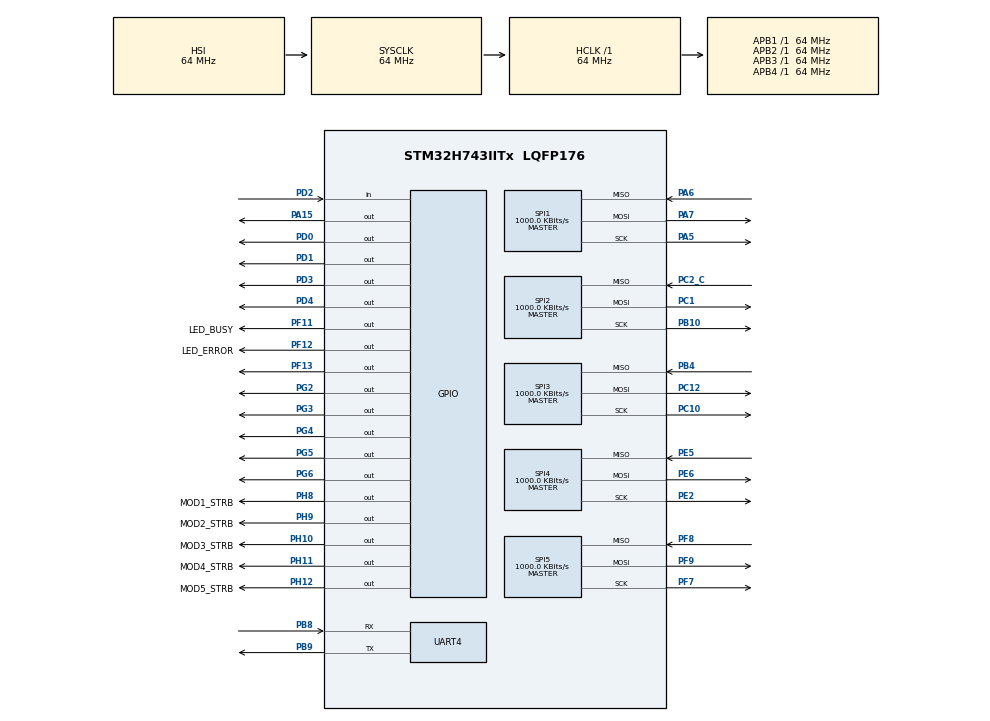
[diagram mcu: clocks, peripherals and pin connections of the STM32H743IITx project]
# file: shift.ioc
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Mcu.Family=STM32H7
Mcu.Name=STM32H743IITx
Mcu.Package=LQFP176
NVIC.PriorityGroup=NVIC_PRIORITYGROUP_4
NVIC.UART4_IRQn=true\:0\:0\:false\:false\:true\:true\:true
PA13\ (JTMS/SWDIO).Mode=Trace_Asynchronous_SW
PA13\ (JTMS/SWDIO).Signal=DEBUG_JTMS-SWDIO
PA14\ (JTCK/SWCLK).Mode=Trace_Asynchronous_SW
PA14\ (JTCK/SWCLK).Signal=DEBUG_JTCK-SWCLK
PA15\ (JTDI).Signal=GPIO_Output
PA5.Mode=Full_Duplex_Master
PA5.Signal=SPI1_SCK
PA6.Mode=Full_Duplex_Master
PA6.Signal=SPI1_MISO
PA7.Mode=Full_Duplex_Master
PA7.Signal=SPI1_MOSI
PB10.Mode=Full_Duplex_Master
PB10.Signal=SPI2_SCK
PB3\ (JTDO/TRACESWO).Mode=Trace_Asynchronous_SW
PB3\ (JTDO/TRACESWO).Signal=DEBUG_JTDO-SWO
PB4\ (NJTRST).GPIO_PuPd=GPIO_PULLDOWN
PB4\ (NJTRST).Mode=Full_Duplex_Master
PB4\ (NJTRST).Signal=SPI3_MISO
PB8.Mode=Asynchronous
PB8.Signal=UART4_RX
PB9.Mode=Asynchronous
PB9.Signal=UART4_TX
PC1.Mode=Full_Duplex_Master
PC1.Signal=SPI2_MOSI
PC10.GPIO_PuPd=GPIO_PULLDOWN
PC10.GPIO_Speed=GPIO_SPEED_FREQ_HIGH
PC10.Mode=Full_Duplex_Master
PC10.Signal=SPI3_SCK
PC12.Mode=Full_Duplex_Master
PC12.Signal=SPI3_MOSI
PC2_C.Mode=Full_Duplex_Master
PC2_C.Signal=SPI2_MISO
PD0.Signal=GPIO_Output
PD1.Signal=GPIO_Output
PD2.Signal=GPIO_Input
PD3.Signal=GPIO_Output
PD4.Signal=GPIO_Output
PE2.GPIO_PuPd=GPIO_PULLDOWN
PE2.GPIO_Speed=GPIO_SPEED_FREQ_HIGH
PE2.Mode=Full_Duplex_Master
PE2.Signal=SPI4_SCK
PE5.GPIO_PuPd=GPIO_PULLDOWN
PE5.Mode=Full_Duplex_Master
PE5.Signal=SPI4_MISO
PE6.Mode=Full_Duplex_Master
PE6.Signal=SPI4_MOSI
PF11.GPIO_Label=LED_BUSY
PF11.Signal=GPIO_Output
PF12.GPIO_Label=LED_ERROR
PF12.Signal=GPIO_Output
PF13.Signal=GPIO_Output
PF7.GPIO_PuPd=GPIO_NOPULL
PF7.GPIO_Speed=GPIO_SPEED_FREQ_HIGH
PF7.Mode=Full_Duplex_Master
PF7.Signal=SPI5_SCK
PF8.GPIO_PuPd=GPIO_NOPULL
PF8.Mode=Full_Duplex_Master
PF8.Signal=SPI5_MISO
PF9.Mode=Full_Duplex_Master
PF9.Signal=SPI5_MOSI
PG2.Signal=GPIO_Output
PG3.Signal=GPIO_Output
PG4.Signal=GPIO_Output
PG5.Signal=GPIO_Output
PG6.Signal=GPIO_Output
PH0-OSC_IN\ (PH0).Mode=HSE-External-Clock-Source
PH0-OSC_IN\ (PH0).Signal=RCC_OSC_IN
PH10.GPIO_Label=MOD3_STRB
PH10.Signal=GPIO_Output
PH11.GPIO_Label=MOD4_STRB
PH11.Signal=GPIO_Output
PH12.GPIO_Label=MOD5_STRB
PH12.Signal=GPIO_Output
PH8.GPIO_Label=MOD1_STRB
PH8.Signal=GPIO_Output
PH9.GPIO_Label=MOD2_STRB
PH9.Signal=GPIO_Output
ProjectManager.HeapSize=0x200
ProjectManager.StackSize=0x400
ProjectManager.TargetToolchain=MDK-ARM V5.27
RCC.ADCFreq_Value=128000000
RCC.APB1Freq_Value=64000000
RCC.APB2Freq_Value=64000000
RCC.APB3Freq_Value=64000000
RCC.APB4Freq_Value=64000000
RCC.CortexFreq_Value=64000000
RCC.DIVM1=4
RCC.DIVN1=9
RCC.DIVN2=128
RCC.DIVP1=4
RCC.DIVQ1=15
RCC.DIVQ2=8
RCC.HCLKFreq_Value=64000000
RCC.HSE_VALUE=8000000
RCC.PLL2FRACN=0
RCC.PLL3FRACN=0
RCC.PLLFRACN=3072
RCC.PWR_Regulator_Voltage_Scale=PWR_REGULATOR_VOLTAGE_SCALE3
RCC.SPI123CLockSelection=RCC_SPI123CLKSOURCE_CLKP
RCC.SYSCLKFreq_VALUE=64000000
RCC.Spi45ClockSelection=RCC_SPI45CLKSOURCE_PLL2
RCC.USART234578CLockSelection=RCC_USART234578CLKSOURCE_PLL2
RCC.USBFreq_Value=10000000
SPI1.BaudRatePrescaler=SPI_BAUDRATEPRESCALER_64
SPI1.CalculateBaudRate=1000.0 KBits/s
SPI1.DataSize=SPI_DATASIZE_8BIT
SPI1.Direction=SPI_DIRECTION_2LINES
SPI1.Mode=SPI_MODE_MASTER
SPI1.VirtualType=VM_MASTER
SPI2.BaudRatePrescaler=SPI_BAUDRATEPRESCALER_64
SPI2.CalculateBaudRate=1000.0 KBits/s
SPI2.DataSize=SPI_DATASIZE_8BIT
SPI2.Direction=SPI_DIRECTION_2LINES
SPI2.Mode=SPI_MODE_MASTER
SPI2.VirtualType=VM_MASTER
SPI3.BaudRatePrescaler=SPI_BAUDRATEPRESCALER_64
SPI3.CLKPhase=SPI_PHASE_1EDGE
SPI3.CLKPolarity=SPI_POLARITY_LOW
SPI3.CalculateBaudRate=1000.0 KBits/s
SPI3.DataSize=SPI_DATASIZE_8BIT
SPI3.Direction=SPI_DIRECTION_2LINES
SPI3.FirstBit=SPI_FIRSTBIT_MSB
SPI3.Mode=SPI_MODE_MASTER
SPI3.VirtualType=VM_MASTER
SPI4.BaudRatePrescaler=SPI_BAUDRATEPRESCALER_32
SPI4.CalculateBaudRate=1000.0 KBits/s
SPI4.DataSize=SPI_DATASIZE_8BIT
SPI4.Direction=SPI_DIRECTION_2LINES
SPI4.Mode=SPI_MODE_MASTER
SPI4.VirtualType=VM_MASTER
SPI5.BaudRatePrescaler=SPI_BAUDRATEPRESCALER_32
SPI5.CalculateBaudRate=1000.0 KBits/s
SPI5.DataSize=SPI_DATASIZE_8BIT
SPI5.Direction=SPI_DIRECTION_2LINES
SPI5.Mode=SPI_MODE_MASTER
SPI5.VirtualType=VM_MASTER
board=custom

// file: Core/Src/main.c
/* USER CODE BEGIN Header */
/**
  ******************************************************************************
  * @file           : main.c
  * @brief          : Main program body
  ******************************************************************************
  * @attention
  *
  * <h2><center>&copy; Copyright (c) 2021 STMicroelectronics.
  * All rights reserved.</center></h2>
  *
  * This software component is licensed by ST under BSD 3-Clause license,
  * the "License"; You may not use this file except in compliance with the
  * License. You may obtain a copy of the License at:
  *                        opensource.org/licenses/BSD-3-Clause
  *
  ******************************************************************************
  */
/* USER CODE END Header */
#include "main.h"
#include "stdio.h"
#include "ADS8699.h"
#include "shift.h"

SPI_HandleTypeDef hspi1;
SPI_HandleTypeDef hspi2;
SPI_HandleTypeDef hspi3;
SPI_HandleTypeDef hspi4;
SPI_HandleTypeDef hspi5;

UART_HandleTypeDef huart4;

void SystemClock_Config(void);
void PeriphCommonClock_Config(void);
static void MX_GPIO_Init(void);
static void MX_SPI3_Init(void);
static void MX_SPI1_Init(void);
static void MX_UART4_Init(void);
static void MX_SPI2_Init(void);
static void MX_SPI4_Init(void);
static void MX_SPI5_Init(void);
/* USER CODE BEGIN PFP */

uint8_t tx3;
uint8_t tx4;
	uint8_t tx=0xE1;
uint8_t tx1=0xF1;

int i=1;
int j=0;
/* USER CODE END PFP */

/* USER CODE BEGIN 0 */

	HAL_StatusTypeDef CAL_writeShiftRegister1(SPI_HandleTypeDef* spi1, GPIO_TypeDef* GPIOx, uint16_t GPIO_Pin, uint8_t* tx) {

	  // Make sure we start with strobe pin
	  HAL_GPIO_WritePin(GPIOx,GPIO_Pin, GPIO_PIN_RESET); // reset state

	  // Write and read
	  HAL_SPI_Transmit(spi1, tx,2, 100);

	  for(int i = 0; i < 500; i++) { __NOP(); } // Wait N cycles
	 HAL_GPIO_WritePin(GPIOx,GPIO_Pin, GPIO_PIN_SET);
	  for(int i = 0; i < 500; i++) { __NOP(); } // Wait N cycles
	  HAL_GPIO_WritePin(GPIOx,GPIO_Pin, GPIO_PIN_RESET);
	}

/*struct receive_data {

    uint8_t sync ;
	  uint8_t current_range;
	  uint8_t voltage_range;
	  uint8_t ack;

}receive_data;

struct receive_data tx_data;
struct receive_data rx_data;*/

struct send_data {

		 uint8_t sync ;
	  uint8_t current_range;
	  uint8_t voltage_range;

	float current_value;
	float voltage_value;
	float temperature_chanel1;
	float temperature_chanel2;
	float temperature_chanel3;
	float temperature_chanel4;
		uint8_t ack;
}send_data;

struct send_data test_tx_data;
struct send_data test_rx_data;

//float recieve_buffer[2];
char transmit_buffer1[sizeof(send_data)+1];
char receive_range_buffer[4];
char transmit_range_buffer[4];

/*void HAL_UART_TxCpltCallback(UART_HandleTypeDef *huart)
{
memcpy(transmit_range_buffer,&tx_data,sizeof(receive_data));

HAL_UART_Transmit_IT(&huart4,transmit_range_buffer,sizeof(transmit_range_buffer));
}*/
void HAL_UART_RxCpltCallback(UART_HandleTypeDef *huart)
{

	HAL_UART_Receive_IT(&huart4,transmit_buffer1,sizeof(transmit_buffer1));

	//HAL_UART_Receive_IT(&huart4,(uint8_t *)&ack,1);

	// HAL_UART_Receive_IT(&huart2,(uint8_t*)test_recieve_data,sizeof(test_send_data));
	memcpy(&test_tx_data,transmit_buffer1,sizeof(send_data));
}

//char transmit_buffer[40];

HAL_StatusTypeDef CAL_writeShiftRegister(SPI_HandleTypeDef* spi, GPIO_TypeDef* STRB_Port, uint16_t STRB_Pin, uint8_t* tx) {

HAL_StatusTypeDef errorcode=HAL_OK;
	  // Make sure we start with strobe pin
	  HAL_GPIO_WritePin(MOD1_STRB_GPIO_Port, MOD1_STRB_Pin, GPIO_PIN_RESET); // reset state

	  // Write and read
	  HAL_SPI_Transmit(spi, tx,1, 100);

	  for(int i = 0; i < 500; i++) { __NOP(); } // Wait N cycles
	  HAL_GPIO_WritePin(STRB_Port, STRB_Pin, GPIO_PIN_SET);
	  for(int i = 0; i < 500; i++) { __NOP(); } // Wait N cycles
	  HAL_GPIO_WritePin(STRB_Port, STRB_Pin, GPIO_PIN_RESET);

	  return errorcode;
}

/*void Test_ADC_modules(SPI_HandleTypeDef *hspi, GPIO_TypeDef *GPIOx, uint16_t GPIO_Pin,uint8_t data)
	{

		uint8_t SDI_wr=0xD0, SDI_add=0x08, SDI_da1=0x00, SDI_da2=0x00; //32 bits includes input write command, address of the register followed by data

  //Configuring data protocol used to transmit data out from the SDO-x pins of the ADC SDO_CTL_REG Register

	uint8_t SDO_wr=0xD0, SDO_add=0x0C, SDO_da1=0x00, SDO_da2=0x00;

  //Configuring the register to controls the data output by the device using DATAOUT_CTL_REG Register

	uint8_t DATA_wr=0xD0, DATA_add=0x10, DATA_da1=0x00, DATA_da2=data;

 uint8_t RANGE_sel=0xD0,RANGE_add=0x14, RANGE_da1=0x00,RANGE_da2=0x00;

  //Data read command to read data from the ADC using host controller

	uint8_t SDO1_rd=0x48, SDO1_add=0x0C, SDO1_da1=0x00, SDO1_da2=0x00;

CAL_writeShiftRegister(&hspi3, MOD5_STRB_GPIO_Port, MOD5_STRB_Pin, &tx);
	HAL_SPI_Transmit(hspi, &SDI_wr, 1, 100);
	HAL_SPI_Transmit(hspi, &SDI_add, 1, 100);
	HAL_SPI_Transmit(hspi, &SDI_da1, 1, 100);
	HAL_SPI_Transmit(hspi, &SDI_da2, 1, 100);

	CAL_writeShiftRegister(&hspi3, MOD5_STRB_GPIO_Port, MOD5_STRB_Pin, &tx1);
	while (HAL_SPI_GetState(hspi) != HAL_SPI_STATE_READY)

	       	   {

	       	   }
	HAL_Delay(100);

CAL_writeShiftRegister(&hspi3, MOD5_STRB_GPIO_Port, MOD5_STRB_Pin, &tx);

	HAL_SPI_Transmit(hspi, &SDO_wr, 1, 100);
	HAL_SPI_Transmit(hspi, &SDO_add, 1, 100);
	HAL_SPI_Transmit(hspi, &SDO_da1, 1, 100);
	HAL_SPI_Transmit(hspi, &SDO_da2, 1, 100);

CAL_writeShiftRegister(&hspi3, MOD5_STRB_GPIO_Port, MOD5_STRB_Pin, &tx1);

						 while (HAL_SPI_GetState(hspi) != HAL_SPI_STATE_READY)

	       	   {

	       	   }

	HAL_Delay(100);

CAL_writeShiftRegister(&hspi3, MOD5_STRB_GPIO_Port, MOD5_STRB_Pin, &tx);

	HAL_SPI_Transmit(hspi, &RANGE_sel, 1, 100);
	HAL_SPI_Transmit(hspi, &RANGE_add, 1, 100);
	HAL_SPI_Transmit(hspi, &RANGE_da1, 1, 100);
	HAL_SPI_Transmit(hspi, &RANGE_da2, 1, 100);

CAL_writeShiftRegister(&hspi3, MOD5_STRB_GPIO_Port, MOD5_STRB_Pin, &tx1);

	while (HAL_SPI_GetState(hspi) != HAL_SPI_STATE_READY)

	       	   {

	       	   }
HAL_Delay(100);

CAL_writeShiftRegister(&hspi3, MOD5_STRB_GPIO_Port, MOD5_STRB_Pin, &tx);

	HAL_SPI_Transmit(hspi, &DATA_wr, 1, 100);
	HAL_SPI_Transmit(hspi, &DATA_add, 1, 100);
	HAL_SPI_Transmit(hspi, &DATA_da1, 1, 100);
	HAL_SPI_Transmit(hspi, &DATA_da2, 1, 100);

CAL_writeShiftRegister(&hspi3, MOD5_STRB_GPIO_Port, MOD5_STRB_Pin, &tx1);

					while (HAL_SPI_GetState(hspi) != HAL_SPI_STATE_READY)

	       	   {

	       	   }

	HAL_Delay(100);

CAL_writeShiftRegister(&hspi3, MOD5_STRB_GPIO_Port, MOD5_STRB_Pin, &tx);

	HAL_SPI_Transmit(hspi, &SDO1_rd, 1, 100);
	HAL_SPI_Transmit(hspi, &SDO1_add, 1, 100);
	HAL_SPI_Transmit(hspi, &SDO1_da1, 1, 100);
	HAL_SPI_Transmit(hspi, &SDO1_da2, 1, 100);

CAL_writeShiftRegister(&hspi3, MOD5_STRB_GPIO_Port, MOD5_STRB_Pin, &tx1);

	HAL_Delay(100);
	}*/

/* USER CODE END 0 */

int main(void)
{

  /* MCU Configuration--------------------------------------------------------*/

  /* Reset of all peripherals, Initializes the Flash interface and the Systick. */
  HAL_Init();

  /* Configure the system clock */
  SystemClock_Config();

/* Configure the peripherals common clocks */
  PeriphCommonClock_Config();

  /* Initialize all configured peripherals */
  MX_GPIO_Init();
  MX_SPI3_Init();
  MX_SPI1_Init();
  MX_UART4_Init();
  MX_SPI2_Init();
  MX_SPI4_Init();
  MX_SPI5_Init();
  /* USER CODE BEGIN 2 */
  HAL_GPIO_WritePin(LED_BUSY_GPIO_Port, LED_BUSY_Pin, GPIO_PIN_SET); // OK LED turn on -> Init complete

	 uint8_t rx[4];
	 uint8_t rx1[4];
	 uint8_t rx2[4];
//char buff[38];
//int buff_len;
uint32_t raw;
uint32_t raw1;
uint32_t raw5;
uint32_t raw6;
uint32_t raw7;
uint32_t raw8;
float raw2;
float raw3;
float raw4;
float raw9;
float raw10;
float raw11;
float raw12;
float raw13;
float result;
float result1;
uint8_t tx2[2]={0x03,0x01};

/*test_tx_data.current_range=0x01;
test_tx_data.voltage_range=0x01;
test_tx_data.sync=0xFF;
test_tx_data.ack=0x00;*/

//HAL_UART_Transmit_IT(&huart4,(uint8_t *)transmit_buffer1,sizeof(transmit_buffer1));

//memcpy(transmit_buffer1,&test_tx_data,sizeof(send_data));
	  test_tx_data.sync=0x00;
	test_tx_data.current_range=0x01;
	test_tx_data.voltage_range=0x00;
	test_tx_data.current_value=0x00;
	test_tx_data.voltage_value=0x00;
	test_tx_data.temperature_chanel1=0x00;
	test_tx_data.temperature_chanel2=0x00;
	test_tx_data.temperature_chanel3=0x00;
	test_tx_data.temperature_chanel4=0x00;
	test_tx_data.ack=0x01;

memcpy(transmit_buffer1,&test_tx_data,sizeof(send_data));

//HAL_UART_Receive_IT(&huart4,(uint8_t *)&ack,1);
		 while(test_tx_data.ack !=0x1F)

{

HAL_UART_Transmit(&huart4,transmit_buffer1,sizeof(transmit_buffer1),100);
	HAL_UART_Receive_IT(&huart4,transmit_buffer1,sizeof(transmit_buffer1));

//HAL_UART_Receive(&huart4,(uint8_t *)&ack,sizeof(ack),100);
}

HAL_GPIO_WritePin(GPIOA, GPIO_PIN_15, GPIO_PIN_SET);
HAL_GPIO_WritePin(GPIOG, GPIO_PIN_2, GPIO_PIN_SET);
//Test1_ADC_modules(&hspi1,GPIOD,GPIO_PIN_0,0x00);
CAL_ADS8699_Configuration(&hspi1,GPIOD,GPIO_PIN_0,0x00,0x00,0x00);

CAL_writeShiftRegister1(&hspi4,GPIOH,MOD2_STRB_Pin,tx2);
HAL_GPIO_WritePin(GPIOA, GPIO_PIN_15, GPIO_PIN_SET);
HAL_GPIO_WritePin(GPIOG, GPIO_PIN_3, GPIO_PIN_SET);
//Test2_ADC_modules(&hspi2,GPIOD,GPIO_PIN_1,0x06);
CAL_ADS8699_Configuration(&hspi2,GPIOD,GPIO_PIN_1,0x00,0x00,0x00);

		HAL_GPIO_WritePin(GPIOG, GPIO_PIN_6, GPIO_PIN_SET);
		HAL_GPIO_WritePin(GPIOA, GPIO_PIN_15, GPIO_PIN_SET);
		HAL_GPIO_WritePin(GPIOD, GPIO_PIN_4, GPIO_PIN_RESET);

	CAL_ADC_ThermoCoupleModule_Configuration(&hspi3,&hspi5,GPIOH, MOD5_STRB_Pin,&tx,&tx1,0x00,0x00,0x00);

//CAL_writeShiftRegister(&hspi3,MOD1_STRB_GPIO_Port, MOD1_STRB_Pin,&tx);

 //CAL_ADC_ThermoCoupleModule_Configuration(&hspi5,&hspi3,MOD3_STRB_GPIO_Port, MOD3_STRB_Pin,&tx,&tx1,0x00,0x07,0x00);

	/*float p=0;
	float pp=0;
	float k=0;
	float l=0;
	float m=0;
	float n=0;*/
  /* USER CODE END 2 */

  /* Infinite loop */
  /* USER CODE BEGIN WHILE */

  while (1)
  {

//HAL_UART_Transmit(&huart4,transmit_range_buffer,sizeof(transmit_range_buffer),100);

CAL_ADS8699_Read_Data(&hspi1,GPIOD,GPIO_PIN_0,rx);
CAL_ADS8699_Read_Data(&hspi2,GPIOD,GPIO_PIN_1,rx1);
 if(tx==0xE1 & tx1==0xF1)
 {
CAL_ADC_ThermoCoupleModule_Read_Data(&hspi3,&hspi5, GPIOH, MOD5_STRB_Pin,&tx,&tx1,rx2);
 }
 else
 {

   CAL_ADC_ThermoCoupleModule_Read_Data(&hspi3,&hspi5, GPIOH, MOD5_STRB_Pin,&tx3,&tx4,rx2);
 }
//CAL_writeShiftRegister(&hspi3, GPIOH, MOD5_STRB_Pin, &tx);

	//HAL_SPI_Receive(&hspi5,rx2,4,100);

//CAL_writeShiftRegister(&hspi3, GPIOH, MOD5_STRB_Pin, &tx1);

	raw = rx2[0]<<24|rx2[1]<<16|rx2[2]<<8|rx2[3];
		raw1=raw>>14;
		raw2 = (262143-raw1)*0.00009375;
		raw3 = 12.288-raw2;
		raw4=(raw3/0.005)-3;
		raw5 = rx[0]<<24|rx[1]<<16|rx[2]<<8|rx[3];
		raw6=raw5>>14;
		raw9 = (262143-raw6)*0.00009375;
		raw10 = 12.288-raw9;
		raw7 = rx1[0]<<24|rx1[1]<<16|rx1[2]<<8|rx1[3];
		raw8=raw7>>14;
		raw11 = (262143-raw8)*0.00009375;
		raw12 = 12.288-raw11;
		result = (raw12-2.5)*10.7;
		result1 = result/1000;
		raw13=result1/10.11;

		//buff_len=sprintf(buff,"%f,%f,%f,%f\n",raw10,raw13,raw4,dummy1);

		//HAL_UART_Transmit(&huart4,(uint8_t *)buff,buff_len,100);
			HAL_UART_Receive_IT(&huart4,transmit_buffer1,sizeof(transmit_buffer1));
	memcpy(&test_tx_data,transmit_buffer1,sizeof(send_data));

	switch(j)
		{
			case 0:
		test_tx_data.temperature_chanel1=raw4;

			break;

		  case 1:

		test_tx_data.temperature_chanel2=0;

			break;

			case 2:

		test_tx_data.temperature_chanel3=0;

			break;

			case 3:

		test_tx_data.temperature_chanel4=0;

			break;

			default:
		test_tx_data.temperature_chanel1=raw4;

			break;
		}

	if(test_tx_data.sync==0xFF)
	{

				test_tx_data.current_value=raw13;
		test_tx_data.voltage_value=raw10;
	memcpy(transmit_buffer1,&test_tx_data,sizeof(send_data));
HAL_UART_Transmit(&huart4,(uint8_t *)transmit_buffer1,sizeof(transmit_buffer1),100);

	}

	//HAL_UART_Receive_IT(&huart4,(uint8_t *)&ack,1);

				if(i!=4)
		        {
			tx3=Thermo_Couple_Channel_Select_Data(i);
			tx4=Thermo_Couple_Channel_Select_Data1(i);

	CAL_ADC_ThermoCoupleModule_Configuration(&hspi3,&hspi5,GPIOH, MOD5_STRB_Pin,&tx3,&tx4,0x00,0x00,0x00);

			i=i+1;
		  j=j+1;

		}
	else
	{

//CAL_ADC_ThermoCoupleModule_Configuration(&hspi3,&hspi5,GPIOH, MOD5_STRB_Pin,&tx,&tx1,0x00,0x00,0x00);

		i=0;
	  j=0;

	}

    /* USER CODE END WHILE */

    /* USER CODE BEGIN 3 */

	HAL_Delay(1);

  }
  /* USER CODE END 3 */
}

void SystemClock_Config(void)
{
  RCC_OscInitTypeDef RCC_OscInitStruct = {0};
  RCC_ClkInitTypeDef RCC_ClkInitStruct = {0};

  /** Supply configuration update enable
  */
  HAL_PWREx_ConfigSupply(PWR_LDO_SUPPLY);
  /** Configure the main internal regulator output voltage
  */
  __HAL_PWR_VOLTAGESCALING_CONFIG(PWR_REGULATOR_VOLTAGE_SCALE3);

  while(!__HAL_PWR_GET_FLAG(PWR_FLAG_VOSRDY)) {}
  /** Macro to configure the PLL clock source
  */
  __HAL_RCC_PLL_PLLSOURCE_CONFIG(RCC_PLLSOURCE_HSI);
  /** Initializes the RCC Oscillators according to the specified parameters
  * in the RCC_OscInitTypeDef structure.
  */
  RCC_OscInitStruct.OscillatorType = RCC_OSCILLATORTYPE_HSI;
  RCC_OscInitStruct.HSIState = RCC_HSI_DIV1;
  RCC_OscInitStruct.HSICalibrationValue = RCC_HSICALIBRATION_DEFAULT;
  RCC_OscInitStruct.PLL.PLLState = RCC_PLL_NONE;
  RCC_OscInitStruct.PLL.PLLSource = RCC_PLLSOURCE_HSI;
  if (HAL_RCC_OscConfig(&RCC_OscInitStruct) != HAL_OK)
  {
    Error_Handler();
  }
  /** Initializes the CPU, AHB and APB buses clocks
  */
  RCC_ClkInitStruct.ClockType = RCC_CLOCKTYPE_HCLK|RCC_CLOCKTYPE_SYSCLK
                              |RCC_CLOCKTYPE_PCLK1|RCC_CLOCKTYPE_PCLK2
                              |RCC_CLOCKTYPE_D3PCLK1|RCC_CLOCKTYPE_D1PCLK1;
  RCC_ClkInitStruct.SYSCLKSource = RCC_SYSCLKSOURCE_HSI;
  RCC_ClkInitStruct.SYSCLKDivider = RCC_SYSCLK_DIV1;
  RCC_ClkInitStruct.AHBCLKDivider = RCC_HCLK_DIV1;
  RCC_ClkInitStruct.APB3CLKDivider = RCC_APB3_DIV1;
  RCC_ClkInitStruct.APB1CLKDivider = RCC_APB1_DIV1;
  RCC_ClkInitStruct.APB2CLKDivider = RCC_APB2_DIV1;
  RCC_ClkInitStruct.APB4CLKDivider = RCC_APB4_DIV1;

  if (HAL_RCC_ClockConfig(&RCC_ClkInitStruct, FLASH_LATENCY_1) != HAL_OK)
  {
    Error_Handler();
  }
}

void PeriphCommonClock_Config(void)
{
  RCC_PeriphCLKInitTypeDef PeriphClkInitStruct = {0};

  /** Initializes the peripherals clock
  */
  PeriphClkInitStruct.PeriphClockSelection = RCC_PERIPHCLK_SPI4|RCC_PERIPHCLK_SPI5
                              |RCC_PERIPHCLK_UART4|RCC_PERIPHCLK_CKPER;
  PeriphClkInitStruct.PLL2.PLL2M = 32;
  PeriphClkInitStruct.PLL2.PLL2N = 128;
  PeriphClkInitStruct.PLL2.PLL2P = 2;
  PeriphClkInitStruct.PLL2.PLL2Q = 8;
  PeriphClkInitStruct.PLL2.PLL2R = 2;
  PeriphClkInitStruct.PLL2.PLL2RGE = RCC_PLL2VCIRANGE_1;
  PeriphClkInitStruct.PLL2.PLL2VCOSEL = RCC_PLL2VCOWIDE;
  PeriphClkInitStruct.PLL2.PLL2FRACN = 0;
  PeriphClkInitStruct.CkperClockSelection = RCC_CLKPSOURCE_HSI;
  PeriphClkInitStruct.Spi45ClockSelection = RCC_SPI45CLKSOURCE_PLL2;
  PeriphClkInitStruct.Usart234578ClockSelection = RCC_USART234578CLKSOURCE_PLL2;
  if (HAL_RCCEx_PeriphCLKConfig(&PeriphClkInitStruct) != HAL_OK)
  {
    Error_Handler();
  }
}

static void MX_SPI1_Init(void)
{

  /* SPI1 parameter configuration*/
  hspi1.Instance = SPI1;
  hspi1.Init.Mode = SPI_MODE_MASTER;
  hspi1.Init.Direction = SPI_DIRECTION_2LINES;
  hspi1.Init.DataSize = SPI_DATASIZE_8BIT;
  hspi1.Init.CLKPolarity = SPI_POLARITY_LOW;
  hspi1.Init.CLKPhase = SPI_PHASE_1EDGE;
  hspi1.Init.NSS = SPI_NSS_SOFT;
  hspi1.Init.BaudRatePrescaler = SPI_BAUDRATEPRESCALER_64;
  hspi1.Init.FirstBit = SPI_FIRSTBIT_MSB;
  hspi1.Init.TIMode = SPI_TIMODE_DISABLE;
  hspi1.Init.CRCCalculation = SPI_CRCCALCULATION_DISABLE;
  hspi1.Init.CRCPolynomial = 0x0;
  hspi1.Init.NSSPMode = SPI_NSS_PULSE_ENABLE;
  hspi1.Init.NSSPolarity = SPI_NSS_POLARITY_LOW;
  hspi1.Init.FifoThreshold = SPI_FIFO_THRESHOLD_01DATA;
  hspi1.Init.TxCRCInitializationPattern = SPI_CRC_INITIALIZATION_ALL_ZERO_PATTERN;
  hspi1.Init.RxCRCInitializationPattern = SPI_CRC_INITIALIZATION_ALL_ZERO_PATTERN;
  hspi1.Init.MasterSSIdleness = SPI_MASTER_SS_IDLENESS_00CYCLE;
  hspi1.Init.MasterInterDataIdleness = SPI_MASTER_INTERDATA_IDLENESS_00CYCLE;
  hspi1.Init.MasterReceiverAutoSusp = SPI_MASTER_RX_AUTOSUSP_DISABLE;
  hspi1.Init.MasterKeepIOState = SPI_MASTER_KEEP_IO_STATE_DISABLE;
  hspi1.Init.IOSwap = SPI_IO_SWAP_DISABLE;
  if (HAL_SPI_Init(&hspi1) != HAL_OK)
  {
    Error_Handler();
  }

}

static void MX_SPI2_Init(void)
{

  /* SPI2 parameter configuration*/
  hspi2.Instance = SPI2;
  hspi2.Init.Mode = SPI_MODE_MASTER;
  hspi2.Init.Direction = SPI_DIRECTION_2LINES;
  hspi2.Init.DataSize = SPI_DATASIZE_8BIT;
  hspi2.Init.CLKPolarity = SPI_POLARITY_LOW;
  hspi2.Init.CLKPhase = SPI_PHASE_1EDGE;
  hspi2.Init.NSS = SPI_NSS_SOFT;
  hspi2.Init.BaudRatePrescaler = SPI_BAUDRATEPRESCALER_64;
  hspi2.Init.FirstBit = SPI_FIRSTBIT_MSB;
  hspi2.Init.TIMode = SPI_TIMODE_DISABLE;
  hspi2.Init.CRCCalculation = SPI_CRCCALCULATION_DISABLE;
  hspi2.Init.CRCPolynomial = 0x0;
  hspi2.Init.NSSPMode = SPI_NSS_PULSE_ENABLE;
  hspi2.Init.NSSPolarity = SPI_NSS_POLARITY_LOW;
  hspi2.Init.FifoThreshold = SPI_FIFO_THRESHOLD_01DATA;
  hspi2.Init.TxCRCInitializationPattern = SPI_CRC_INITIALIZATION_ALL_ZERO_PATTERN;
  hspi2.Init.RxCRCInitializationPattern = SPI_CRC_INITIALIZATION_ALL_ZERO_PATTERN;
  hspi2.Init.MasterSSIdleness = SPI_MASTER_SS_IDLENESS_00CYCLE;
  hspi2.Init.MasterInterDataIdleness = SPI_MASTER_INTERDATA_IDLENESS_00CYCLE;
  hspi2.Init.MasterReceiverAutoSusp = SPI_MASTER_RX_AUTOSUSP_DISABLE;
  hspi2.Init.MasterKeepIOState = SPI_MASTER_KEEP_IO_STATE_DISABLE;
  hspi2.Init.IOSwap = SPI_IO_SWAP_DISABLE;
  if (HAL_SPI_Init(&hspi2) != HAL_OK)
  {
    Error_Handler();
  }

}

static void MX_SPI3_Init(void)
{

  /* SPI3 parameter configuration*/
  hspi3.Instance = SPI3;
  hspi3.Init.Mode = SPI_MODE_MASTER;
  hspi3.Init.Direction = SPI_DIRECTION_2LINES;
  hspi3.Init.DataSize = SPI_DATASIZE_8BIT;
  hspi3.Init.CLKPolarity = SPI_POLARITY_LOW;
  hspi3.Init.CLKPhase = SPI_PHASE_1EDGE;
  hspi3.Init.NSS = SPI_NSS_SOFT;
  hspi3.Init.BaudRatePrescaler = SPI_BAUDRATEPRESCALER_64;
  hspi3.Init.FirstBit = SPI_FIRSTBIT_MSB;
  hspi3.Init.TIMode = SPI_TIMODE_DISABLE;
  hspi3.Init.CRCCalculation = SPI_CRCCALCULATION_DISABLE;
  hspi3.Init.CRCPolynomial = 0x0;
  hspi3.Init.NSSPMode = SPI_NSS_PULSE_ENABLE;
  hspi3.Init.NSSPolarity = SPI_NSS_POLARITY_LOW;
  hspi3.Init.FifoThreshold = SPI_FIFO_THRESHOLD_01DATA;
  hspi3.Init.TxCRCInitializationPattern = SPI_CRC_INITIALIZATION_ALL_ZERO_PATTERN;
  hspi3.Init.RxCRCInitializationPattern = SPI_CRC_INITIALIZATION_ALL_ZERO_PATTERN;
  hspi3.Init.MasterSSIdleness = SPI_MASTER_SS_IDLENESS_00CYCLE;
  hspi3.Init.MasterInterDataIdleness = SPI_MASTER_INTERDATA_IDLENESS_00CYCLE;
  hspi3.Init.MasterReceiverAutoSusp = SPI_MASTER_RX_AUTOSUSP_DISABLE;
  hspi3.Init.MasterKeepIOState = SPI_MASTER_KEEP_IO_STATE_DISABLE;
  hspi3.Init.IOSwap = SPI_IO_SWAP_DISABLE;
  if (HAL_SPI_Init(&hspi3) != HAL_OK)
  {
    Error_Handler();
  }

}

static void MX_SPI4_Init(void)
{

  /* SPI4 parameter configuration*/
  hspi4.Instance = SPI4;
  hspi4.Init.Mode = SPI_MODE_MASTER;
  hspi4.Init.Direction = SPI_DIRECTION_2LINES;
  hspi4.Init.DataSize = SPI_DATASIZE_8BIT;
  hspi4.Init.CLKPolarity = SPI_POLARITY_LOW;
  hspi4.Init.CLKPhase = SPI_PHASE_1EDGE;
  hspi4.Init.NSS = SPI_NSS_SOFT;
  hspi4.Init.BaudRatePrescaler = SPI_BAUDRATEPRESCALER_32;
  hspi4.Init.FirstBit = SPI_FIRSTBIT_MSB;
  hspi4.Init.TIMode = SPI_TIMODE_DISABLE;
  hspi4.Init.CRCCalculation = SPI_CRCCALCULATION_DISABLE;
  hspi4.Init.CRCPolynomial = 0x0;
  hspi4.Init.NSSPMode = SPI_NSS_PULSE_ENABLE;
  hspi4.Init.NSSPolarity = SPI_NSS_POLARITY_LOW;
  hspi4.Init.FifoThreshold = SPI_FIFO_THRESHOLD_01DATA;
  hspi4.Init.TxCRCInitializationPattern = SPI_CRC_INITIALIZATION_ALL_ZERO_PATTERN;
  hspi4.Init.RxCRCInitializationPattern = SPI_CRC_INITIALIZATION_ALL_ZERO_PATTERN;
  hspi4.Init.MasterSSIdleness = SPI_MASTER_SS_IDLENESS_00CYCLE;
  hspi4.Init.MasterInterDataIdleness = SPI_MASTER_INTERDATA_IDLENESS_00CYCLE;
  hspi4.Init.MasterReceiverAutoSusp = SPI_MASTER_RX_AUTOSUSP_DISABLE;
  hspi4.Init.MasterKeepIOState = SPI_MASTER_KEEP_IO_STATE_DISABLE;
  hspi4.Init.IOSwap = SPI_IO_SWAP_DISABLE;
  if (HAL_SPI_Init(&hspi4) != HAL_OK)
  {
    Error_Handler();
  }

}

static void MX_SPI5_Init(void)
{

  /* SPI5 parameter configuration*/
  hspi5.Instance = SPI5;
  hspi5.Init.Mode = SPI_MODE_MASTER;
  hspi5.Init.Direction = SPI_DIRECTION_2LINES;
  hspi5.Init.DataSize = SPI_DATASIZE_8BIT;
  hspi5.Init.CLKPolarity = SPI_POLARITY_LOW;
  hspi5.Init.CLKPhase = SPI_PHASE_1EDGE;
  hspi5.Init.NSS = SPI_NSS_SOFT;
  hspi5.Init.BaudRatePrescaler = SPI_BAUDRATEPRESCALER_32;
  hspi5.Init.FirstBit = SPI_FIRSTBIT_MSB;
  hspi5.Init.TIMode = SPI_TIMODE_DISABLE;
  hspi5.Init.CRCCalculation = SPI_CRCCALCULATION_DISABLE;
  hspi5.Init.CRCPolynomial = 0x0;
  hspi5.Init.NSSPMode = SPI_NSS_PULSE_ENABLE;
  hspi5.Init.NSSPolarity = SPI_NSS_POLARITY_LOW;
  hspi5.Init.FifoThreshold = SPI_FIFO_THRESHOLD_01DATA;
  hspi5.Init.TxCRCInitializationPattern = SPI_CRC_INITIALIZATION_ALL_ZERO_PATTERN;
  hspi5.Init.RxCRCInitializationPattern = SPI_CRC_INITIALIZATION_ALL_ZERO_PATTERN;
  hspi5.Init.MasterSSIdleness = SPI_MASTER_SS_IDLENESS_00CYCLE;
  hspi5.Init.MasterInterDataIdleness = SPI_MASTER_INTERDATA_IDLENESS_00CYCLE;
  hspi5.Init.MasterReceiverAutoSusp = SPI_MASTER_RX_AUTOSUSP_DISABLE;
  hspi5.Init.MasterKeepIOState = SPI_MASTER_KEEP_IO_STATE_DISABLE;
  hspi5.Init.IOSwap = SPI_IO_SWAP_DISABLE;
  if (HAL_SPI_Init(&hspi5) != HAL_OK)
  {
    Error_Handler();
  }

}

static void MX_UART4_Init(void)
{

  huart4.Instance = UART4;
  huart4.Init.BaudRate = 115200;
  huart4.Init.WordLength = UART_WORDLENGTH_8B;
  huart4.Init.StopBits = UART_STOPBITS_1;
  huart4.Init.Parity = UART_PARITY_NONE;
  huart4.Init.Mode = UART_MODE_TX_RX;
  huart4.Init.HwFlowCtl = UART_HWCONTROL_NONE;
  huart4.Init.OverSampling = UART_OVERSAMPLING_16;
  huart4.Init.OneBitSampling = UART_ONE_BIT_SAMPLE_DISABLE;
  huart4.Init.ClockPrescaler = UART_PRESCALER_DIV1;
  huart4.AdvancedInit.AdvFeatureInit = UART_ADVFEATURE_NO_INIT;
  if (HAL_UART_Init(&huart4) != HAL_OK)
  {
    Error_Handler();
  }
  if (HAL_UARTEx_SetTxFifoThreshold(&huart4, UART_TXFIFO_THRESHOLD_1_8) != HAL_OK)
  {
    Error_Handler();
  }
  if (HAL_UARTEx_SetRxFifoThreshold(&huart4, UART_RXFIFO_THRESHOLD_1_8) != HAL_OK)
  {
    Error_Handler();
  }
  if (HAL_UARTEx_DisableFifoMode(&huart4) != HAL_OK)
  {
    Error_Handler();
  }

}

static void MX_GPIO_Init(void)
{
  GPIO_InitTypeDef GPIO_InitStruct = {0};

  /* GPIO Ports Clock Enable */
  __HAL_RCC_GPIOE_CLK_ENABLE();
  __HAL_RCC_GPIOF_CLK_ENABLE();
  __HAL_RCC_GPIOH_CLK_ENABLE();
  __HAL_RCC_GPIOC_CLK_ENABLE();
  __HAL_RCC_GPIOA_CLK_ENABLE();
  __HAL_RCC_GPIOB_CLK_ENABLE();
  __HAL_RCC_GPIOG_CLK_ENABLE();
  __HAL_RCC_GPIOD_CLK_ENABLE();

  /*Configure GPIO pin Output Level */
  HAL_GPIO_WritePin(GPIOF, LED_BUSY_Pin|LED_ERROR_Pin|GPIO_PIN_13, GPIO_PIN_RESET);

  /*Configure GPIO pin Output Level */
  HAL_GPIO_WritePin(GPIOH, MOD1_STRB_Pin|MOD2_STRB_Pin|MOD3_STRB_Pin|MOD4_STRB_Pin
                          |MOD5_STRB_Pin, GPIO_PIN_RESET);

  /*Configure GPIO pin Output Level */
  HAL_GPIO_WritePin(GPIOG, GPIO_PIN_2|GPIO_PIN_3|GPIO_PIN_4|GPIO_PIN_5
                          |GPIO_PIN_6, GPIO_PIN_RESET);

  /*Configure GPIO pin Output Level */
  HAL_GPIO_WritePin(GPIOA, GPIO_PIN_15, GPIO_PIN_RESET);

  /*Configure GPIO pin Output Level */
  HAL_GPIO_WritePin(GPIOD, GPIO_PIN_0|GPIO_PIN_1|GPIO_PIN_3|GPIO_PIN_4, GPIO_PIN_RESET);

  /*Configure GPIO pins : LED_BUSY_Pin LED_ERROR_Pin PF13 */
  GPIO_InitStruct.Pin = LED_BUSY_Pin|LED_ERROR_Pin|GPIO_PIN_13;
  GPIO_InitStruct.Mode = GPIO_MODE_OUTPUT_PP;
  GPIO_InitStruct.Pull = GPIO_NOPULL;
  GPIO_InitStruct.Speed = GPIO_SPEED_FREQ_LOW;
  HAL_GPIO_Init(GPIOF, &GPIO_InitStruct);

  /*Configure GPIO pins : MOD1_STRB_Pin MOD2_STRB_Pin MOD3_STRB_Pin MOD4_STRB_Pin
                           MOD5_STRB_Pin */
  GPIO_InitStruct.Pin = MOD1_STRB_Pin|MOD2_STRB_Pin|MOD3_STRB_Pin|MOD4_STRB_Pin
                          |MOD5_STRB_Pin;
  GPIO_InitStruct.Mode = GPIO_MODE_OUTPUT_PP;
  GPIO_InitStruct.Pull = GPIO_NOPULL;
  GPIO_InitStruct.Speed = GPIO_SPEED_FREQ_LOW;
  HAL_GPIO_Init(GPIOH, &GPIO_InitStruct);

  /*Configure GPIO pins : PG2 PG3 PG4 PG5
                           PG6 */
  GPIO_InitStruct.Pin = GPIO_PIN_2|GPIO_PIN_3|GPIO_PIN_4|GPIO_PIN_5
                          |GPIO_PIN_6;
  GPIO_InitStruct.Mode = GPIO_MODE_OUTPUT_PP;
  GPIO_InitStruct.Pull = GPIO_NOPULL;
  GPIO_InitStruct.Speed = GPIO_SPEED_FREQ_LOW;
  HAL_GPIO_Init(GPIOG, &GPIO_InitStruct);

  /*Configure GPIO pin : PA15 */
  GPIO_InitStruct.Pin = GPIO_PIN_15;
  GPIO_InitStruct.Mode = GPIO_MODE_OUTPUT_PP;
  GPIO_InitStruct.Pull = GPIO_NOPULL;
  GPIO_InitStruct.Speed = GPIO_SPEED_FREQ_LOW;
  HAL_GPIO_Init(GPIOA, &GPIO_InitStruct);

  /*Configure GPIO pins : PD0 PD1 PD3 PD4 */
  GPIO_InitStruct.Pin = GPIO_PIN_0|GPIO_PIN_1|GPIO_PIN_3|GPIO_PIN_4;
  GPIO_InitStruct.Mode = GPIO_MODE_OUTPUT_PP;
  GPIO_InitStruct.Pull = GPIO_NOPULL;
  GPIO_InitStruct.Speed = GPIO_SPEED_FREQ_LOW;
  HAL_GPIO_Init(GPIOD, &GPIO_InitStruct);

  /*Configure GPIO pin : PD2 */
  GPIO_InitStruct.Pin = GPIO_PIN_2;
  GPIO_InitStruct.Mode = GPIO_MODE_INPUT;
  GPIO_InitStruct.Pull = GPIO_NOPULL;
  HAL_GPIO_Init(GPIOD, &GPIO_InitStruct);

}

void Error_Handler(void)
{
  __disable_irq();
  while (1)
  {
  }
}

/************************ (C) COPYRIGHT STMicroelectronics *****END OF FILE****/
